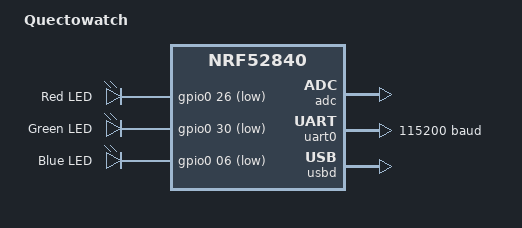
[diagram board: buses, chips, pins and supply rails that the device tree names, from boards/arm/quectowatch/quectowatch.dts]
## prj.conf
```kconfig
CONFIG_GPIO=y

# Enable the UART driver
CONFIG_UART_ASYNC_API=y
CONFIG_NRFX_UARTE0=y
CONFIG_SERIAL=y

# Make sure printk is printing to the UART console
CONFIG_CONSOLE=y
# CONFIG_UART_CONSOLE=y

# Config logger
CONFIG_LOG=y
CONFIG_USE_SEGGER_RTT=y
CONFIG_LOG_BACKEND_RTT=y
CONFIG_LOG_BACKEND_UART=n
CONFIG_LOG_PRINTK=n

# Enable the UART driver
CONFIG_UART_LINE_CTRL=y
CONFIG_UART_INTERRUPT_DRIVEN=y
# CONFIG_BT_NUS_UART_ASYNC_ADAPTER=y
CONFIG_USB_DEVICE_STACK=y
CONFIG_USB_DEVICE_REMOTE_WAKEUP=n
CONFIG_USB_CDC_ACM=y
CONFIG_USB_CDC_ACM_LOG_LEVEL_OFF=y

# Config logger
CONFIG_LOG=y
CONFIG_USE_SEGGER_RTT=y
CONFIG_LOG_BACKEND_RTT=y
CONFIG_LOG_BACKEND_UART=n
CONFIG_LOG_PRINTK=n

# # Disable the UARTE0 enabled in default project configuration
CONFIG_NRFX_UARTE0=n
CONFIG_UART_NRFX=n
```

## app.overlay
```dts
/*
 * Copyright (c) 2021 Nordic Semiconductor ASA
 *
 * SPDX-License-Identifier: LicenseRef-Nordic-5-Clause
 */

 / {
	chosen {
		zephyr,console = &cdc_acm_uart0;
		nordic,nus-uart = &cdc_acm_uart0;
	};
};

&zephyr_udc0 {
	cdc_acm_uart0: cdc_acm_uart0 {
		compatible = "zephyr,cdc-acm-uart";
	};
};
```

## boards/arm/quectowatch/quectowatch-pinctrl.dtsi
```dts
/*
 * Copyright (c) 2022 Nordic Semiconductor ASA
 *
 * SPDX-License-Identifier: LicenseRef-Nordic-5-Clause
 */

 &pinctrl {
	uart0_default: uart0_default {
		group1 {
			psels = <NRF_PSEL(UART_TX, 0, 15)>,
				<NRF_PSEL(UART_RX, 0, 11)>,
				<NRF_PSEL(UART_RTS, 0, 21)>,
				<NRF_PSEL(UART_CTS, 0, 20)>;
		};
	};

	uart0_sleep: uart0_sleep {
		group1 {
			psels = <NRF_PSEL(UART_TX, 0, 15)>,
				<NRF_PSEL(UART_RX, 0, 11)>,
				<NRF_PSEL(UART_RTS, 0, 21)>,
				<NRF_PSEL(UART_CTS, 0, 20)>;
			low-power-enable;
		};
	};

	uart1_default: uart1_default {
		group1 {
			psels = <NRF_PSEL(UART_TX, 0, 25)>,
				<NRF_PSEL(UART_RX, 1, 0)>,
				<NRF_PSEL(UART_RTS, 0, 22)>,
				<NRF_PSEL(UART_CTS, 0, 19)>;
		};
	};

	uart1_sleep: uart1_sleep {
		group1 {
			psels = <NRF_PSEL(UART_TX, 0, 25)>,
				<NRF_PSEL(UART_RX, 1, 0)>,
				<NRF_PSEL(UART_RTS, 0, 22)>,
				<NRF_PSEL(UART_CTS, 0, 19)>;
			low-power-enable;
		};
	};

};
```

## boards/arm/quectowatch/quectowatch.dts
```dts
// Copyright (c) 2024 Nordic Semiconductor ASA
// SPDX-License-Identifier: Apache-2.0

/dts-v1/;
#include <nordic/nrf52840_qiaa.dtsi>
#include "quectowatch-pinctrl.dtsi"

/ {
	model = "Quectowatch";
	compatible = "ed-atkinson,quectowatch";

	chosen {
		zephyr,console = &uart0;
		zephyr,sram = &sram0;
		zephyr,flash = &flash0;
		zephyr,code-partition = &slot0_partition;
	};

	/* These aliases are provided for compatibility with samples */
	aliases {
		led0 = &led0;
		led1 = &led1;
		led2 = &led2;
	};

	leds {
		compatible = "gpio-leds";
		
		led0: led_0 {
			gpios = <&gpio0 26 GPIO_ACTIVE_LOW>;
			label = "Red LED";
		};

		led1: led_1 {
			gpios = <&gpio0 30 GPIO_ACTIVE_LOW>;
			label = "Green LED";
		};

		led2: led_2 {
			gpios = <&gpio0 06 GPIO_ACTIVE_LOW>;
			label = "Blue LED";
		};
	};
};

&adc {
	status = "okay";
};

&gpiote {
	status = "okay";
};

&gpio0 {
	status = "okay";
};

&gpio1 {
	status = "okay";
};

&uart0 {
	compatible = "nordic,nrf-uarte";
	current-speed = <115200>;
	status = "okay";
	pinctrl-0 = <&uart0_default>;
	pinctrl-1 = <&uart0_sleep>;
	pinctrl-names = "default", "sleep";
};

&uart1 {
	current-speed = <1000000>;
	status = "disabled";
	pinctrl-0 = <&uart1_default>;
	pinctrl-1 = <&uart1_sleep>;
	pinctrl-names = "default", "sleep";
};

zephyr_udc0: &usbd {
	status = "okay";
};

&flash0 {
	partitions {
		compatible = "fixed-partitions";
		#address-cells = <1>;
		#size-cells = <1>;

		boot_partition: partition@0 {
			label = "mcuboot";
			reg = <0x0 0xc000>;
		};
		slot0_partition: partition@c000 {
			label = "image-0";
			reg = <0xc000 0x72000>;
		};
		slot1_partition: partition@7e000 {
			label = "image-1";
			reg = <0x7e000 0x72000>;
		};
		scratch_partition: partition@f0000 {
			label = "image-scratch";
			reg = <0xf0000 0xa000>;
		};
		storage_partition: partition@fa000 {
			label = "storage";
			reg = <0xfa000 0x6000>;
		};
	};
};
```

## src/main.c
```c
#include <zephyr/kernel.h>
#include <zephyr/drivers/gpio.h>
#include <zephyr/drivers/uart.h>
#include <zephyr/usb/usb_device.h>
#include <zephyr/device.h>
#include <zephyr/devicetree.h>
#include <soc.h>
#include <zephyr/settings/settings.h>
#include <stdio.h>

#define SLEEP_TIME_MS   1000

#define LED0_NODE DT_ALIAS(led0)

static const struct gpio_dt_spec led = GPIO_DT_SPEC_GET(LED0_NODE, gpios);

int main() {
    int ret;
	bool led_state = true;

	if (!gpio_is_ready_dt(&led)) {
		return 0;
	}

	ret = gpio_pin_configure_dt(&led, GPIO_OUTPUT_ACTIVE);
	if (ret < 0) {
		return 0;
	}

	while (1) {
		printk("Hello world!\n");
		
		ret = gpio_pin_toggle_dt(&led);
		if (ret < 0) {
			return 0;
		}

		led_state = !led_state;
		k_msleep(SLEEP_TIME_MS);
	}
	return 0;
}
```
